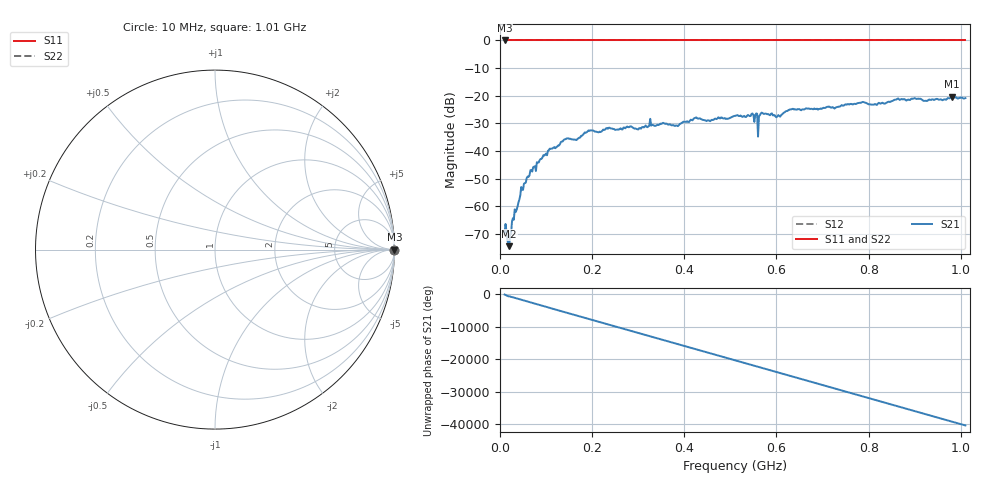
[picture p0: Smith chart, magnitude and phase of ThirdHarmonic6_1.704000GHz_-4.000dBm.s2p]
! 8/16/2025 8:28:57 PM
! C:\ANRITSUVNA\TEMP\TEMP.S2P
! CHANNEL.1
! TR.MEASUREMENT
! RAW.DATA
! RF.CORRECTION.OFF
! AVERAGING.OFF
! IF.BANDWIDTH: 5KHZ
! SWEEPTYPE:  FREQ.SWEEP(Linear)
! Reference Plane Port Info
! PORT:  PORT1  PORT2
! DISTANCE:  0  m  0  m
! TIME:  0  s  0  s
! PHASE.OFFSET:  0  deg.  0  deg.
! LOSS:  0  dB  0  dB
! REF.LOSS:  0  dB  0  dB
! REF.FREQ:  0  Hz  0  Hz
! Power Info
! POWER:  -20  dBm  -20  dBm
! EFF.POWER:  -20  dBm  -20  dBm
! SOURCE.ATTEN:  0  dB  0  dB
! TEST.ATTEN:  0  dB  0  dB
# GHZ S RI R 50.0
! FREQ.GHZ  S11RE  S11IM  S21RE  S21IM  S12RE  S12IM  S22RE  S22IM
!; PortSelection: Port_12
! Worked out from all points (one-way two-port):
!   501 points, 10 MHz to 1.01 GHz, reference 50 ohm
!   highest |S21| = -20.38 dB at 980 MHz (marker M1); lowest = -74.4 dB at 20 MHz (marker M2)
!   lowest |S11| = 0.0 dB at 10 MHz (marker M3)
!   |S11| at or under -10 dB: nowhere
!   |S22| runs from 0.0 to 0.0 dB; largest |S21 - S12| = 1.1
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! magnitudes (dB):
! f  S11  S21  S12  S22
! 10 MHz  0.0  -69.5  0.0  0.0
! 20 MHz  0.0  -74.4  0.0  0.0
! 30 MHz  0.0  -64.9  0.0  0.0
! 48 MHz  0.0  -54.0  0.0  0.0
! 70 MHz  0.0  -47.4  0.0  0.0
! 108 MHz  0.0  -39.2  0.0  0.0
! 142 MHz  0.0  -35.7  0.0  0.0
! 178 MHz  0.0  -34.5  0.0  0.0
! 196 MHz  0.0  -32.5  0.0  0.0
! 344 MHz  0.0  -30.6  0.0  0.0
! 384 MHz  0.0  -30.8  0.0  0.0
! 510 MHz  0.0  -27.3  0.0  0.0
! 546 MHz  0.0  -26.6  0.0  0.0
! 554 MHz  0.0  -27.0  0.0  0.0
! 556 MHz  0.0  -26.4  0.0  0.0
! 570 MHz  0.0  -26.3  0.0  0.0
! 604 MHz  0.0  -27.0  0.0  0.0
! 632 MHz  0.0  -24.9  0.0  0.0
! 678 MHz  0.0  -24.8  0.0  0.0
! 844 MHz  0.0  -22.1  0.0  0.0
! 980 MHz  0.0  -20.4  0.0  0.0
! 1.01 GHz  0.0  -20.9  0.0  0.0
